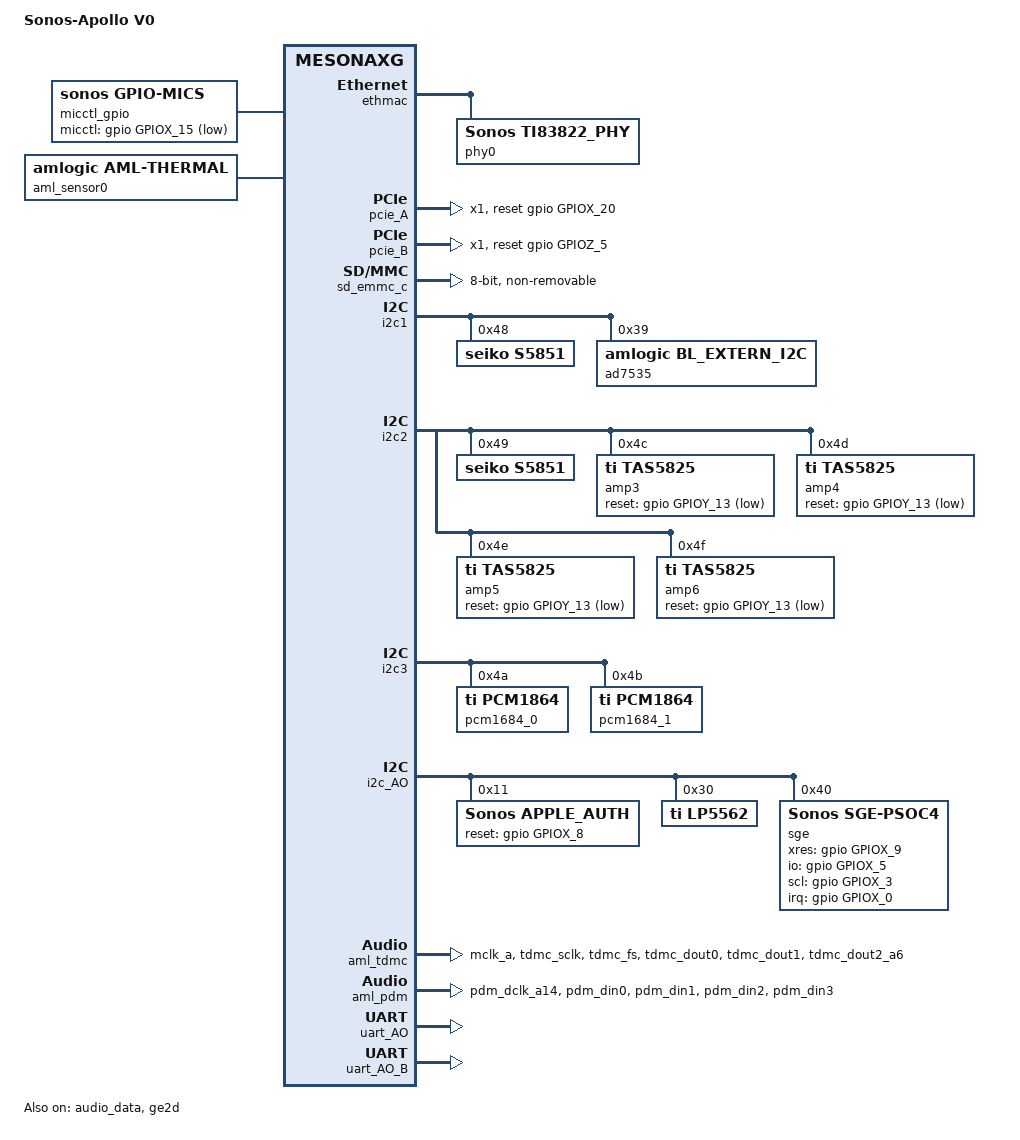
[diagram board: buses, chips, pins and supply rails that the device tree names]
/*
 * Copyright (c) 2018-2022 Sonos, Inc.
 *
 * SPDX-License-Identifier:     GPL-2.0
 */
/* Apollo HW versions
 *      V0 - apollo_v0.dts    - Apollo P0 P0.1 build
 */
/dts-v1/;

#include "a113.dtsi"
#include "sonos_platform.dtsi"
#include "mesonaxg_ad7535-panel.dtsi"

/ {
	model = "Sonos-Apollo V0";
	amlogic-dt-id = "axg_a113d_skt_v1";
	compatible = "amlogic, axg";
	interrupt-parent = <&gic>;
	#address-cells = <2>;
	#size-cells = <2>;

	sonos-product-id = <0x0f>;

	sonos-platform {
		/* Sonos platform specific values for shared driver source & binaries */
		sonos-ampctl { /* Apollo has one amp fault.  It has three control lines.  */
			status = "okay";
			hw-inits-index = <1>;
			hw-exits-index = <1>;
			using-i2c-amp;
			ignore-startup-faults;
			allow-auto-recovery;

			sonos-ampfaults {
				num-faults = <0x01>;
				status = "okay";

				ampfault@0 {
					fault-gpio = <&gpio GPIOY_12 GPIO_ACTIVE_LOW>;
					fault-flags = <IRQ_TYPE_EDGE_FALLING>;
					fault-label = "Amp fault";
				} ;
			} ;

		} ;

		misc-gpio {
			connect-button  = <&gpio GPIOX_2 GPIO_ACTIVE_LOW>;
		};

                simulated-buttons {
			/* event-sources are offsets from EVTSOURCE_BUTTON_PLAYPAUSE, some generate an event for more than one source */
                        join {
                                event-sources = <3>;
                        };
                };

                thermal-mgmt {
                        AMP {
				compatible = "seiko,s5851";
                                fault-temperature = <100>;
                                warn-temperature = <95>;
                        };
                        CPU {
				compatible = "seiko,s5851";
                                fault-temperature = <95>;
                                warn-temperature = <91>;
                        };
                 };
	} ;

	micctl_gpio:sonos-gpio-micctl {
		compatible = "sonos,gpio-mics";
		micctl-gpio = <&gpio GPIOX_15 GPIO_ACTIVE_LOW>;
	};

	micctl@1 {
		compatible = "sonos,micctl";
		micctl-device = <&micctl_gpio>;
	};

	sonos-lla {
		compatible = "sonos,alsa-lla";
		status = "okay";
	};

	hrtimer-a113 {
		compatible = "sonos,hrtimer-a113";
		status = "okay";
	};

	aliases {
		serial0 = &uart_AO;
		serial1 = &uart_AO_B;
		serial2 = &uart_B;
		serial3 = &uart_A;
		ethernet0 = &ethmac;
	};

	memory@00000000 {
		device_type = "memory";
		linux,usable-memory = <0x0 0x100000 0x0 0x3ff00000>;
	};

	reserved-memory {
		#address-cells = <2>;
		#size-cells = <2>;
		ranges;
		/* global autoconfigured region for contiguous allocations */
		ramoops@0x07400000 {
			compatible = "ramoops";
			reg = <0x0 0x07400000 0x0 0x00100000>;
			record-size = <0x8000>;
			console-size = <0x10000>;
			ftrace-size = <0x2000>;
			pmsg-size = <0x4000>;
		};
		secmon_reserved:linux,secmon {
			compatible = "shared-dma-pool";
			reusable;
			size = <0x0 0x400000>;
			alignment = <0x0 0x400000>;
			alloc-ranges = <0x0 0x05000000 0x0 0x400000>;
		};

		secos_reserved:linux,secos {
			status = "disable";
			compatible = "amlogic, aml_secos_memory";
			reg = <0x0 0x05300000 0x0 0x2000000>;
			no-map;
		};

		ion_cma_reserved:linux,ion-dev {
			compatible = "shared-dma-pool";
			reusable;
			size = <0x0 0x8000000>;
			alignment = <0x0 0x400000>;
			alloc-ranges = <0x0 0x33c00000 0x0 0x8000000>;
		};

		fb_reserved:linux,meson-fb {
			//compatible = "amlogic, fb-memory";
			//reg = <0x0 0x3e000000 0x0 0x1f00000>;
			compatible = "shared-dma-pool";
			reusable;
			size = <0x0 0x2400000>;
			alignment = <0x0 0x400000>;
			alloc-ranges = <0x0 0x3bc00000 0x0 0x2400000>;
		};
	};

	mtd_nand {
		compatible = "amlogic, aml_mtd_nand";
		dev_name = "mtdnand";
		status = "disable";
		reg = <0x0 0xFFE07800 0x0 0x200>;
		interrupts = <	0 34 1 >;
		pinctrl-names = "nand_rb_mod","nand_norb_mod", "nand_cs_only";
		pinctrl-0 = <&all_nand_pins>;
		pinctrl-1 = <&all_nand_pins>;
		pinctrl-2 = <&nand_cs_pins>;
		device_id = <0>;

		/*fip/tpl configurations, must be same
		 * with uboot if bl_mode was set as 1
		 * bl_mode: 0 compact mode; 1 descrete mode
		 * if bl_mode was set as 1, fip configeration will work
		 */
		bl_mode = <1>;
		/*copy count of fip*/
		fip_copies = <4>;
		/*size of each fip copy */
		fip_size = <0x200000>;
		nand_clk_ctrl = <0xFFE07000>;
		plat-names = "bootloader","nandnormal";
		plat-num = <2>;
		plat-part-0 = <&bootloader>;
		plat-part-1 = <&nandnormal>;
		bootloader: bootloader{
			enable_pad ="ce0";
			busy_pad = "rb0";
			timming_mode = "mode5";
			bch_mode = "bch8_1k";
			t_rea = <20>;
			t_rhoh = <15>;
			chip_num = <1>;
			part_num = <0>;
			rb_detect = <1>;
		};
		nandnormal: nandnormal{
			enable_pad ="ce0";
			busy_pad = "rb0";
			timming_mode = "mode5";
			bch_mode = "bch8_1k";
			plane_mode = "twoplane";
			t_rea = <20>;
			t_rhoh = <15>;
			chip_num = <2>;
			part_num = <3>;
			partition = <&nand_partitions>;
			rb_detect = <1>;
		};
		nand_partitions:nand_partition{
			/*
			 * if bl_mode is 1, tpl size was generate by
			 * fip_copies * fip_size which
			 * will not skip bad when calculating
			 * the partition size;
			 *
			 * if bl_mode is 0,
			 * tpl partition must be comment out.
			 */
			tpl{
				offset=<0x0 0x0>;
				size=<0x0 0x0>;
			};
			logo{
				offset=<0x0 0x0>;
				size=<0x0 0x200000>;
			};
			recovery{
				offset=<0x0 0x0>;
				size=<0x0 0x1000000>;
			};
			boot{
				offset=<0x0 0x0>;
				size=<0x0 0xC00000>;
			};
			system{
				offset=<0x0 0x0>;
				size=<0x0 0xDC40000>;
			};
			data{
				offset=<0xffffffff 0xffffffff>;
				size=<0x0 0x0>;
			};
		};
	};

	ethmac: ethernet@0xff3f0000 {
			compatible = "amlogic, gxbb-eth-dwmac";
			status = "okay";
			reg = <0x0 0xff3f0000 0x0 0x10000
			0x0 0xff634540 0x0 0x8>;
			interrupts = <0 8 1>;
			pinctrl-names = "external_eth_pins";
			pinctrl-0 = <&external_eth_pins>;
			mc_val_internal_phy = <0x1800>;
			mc_val_external_phy = <0x1404>;
			interrupt-names = "macirq";
			clocks = <&clkc CLKID_ETH_CORE>;
			clock-names = "ethclk81";
			internal_phy=<0>;

			phy0 {
				compatible = "Sonos,ti83822_phy";
				interrupts = <&gpio GPIOY_14 GPIO_ACTIVE_HIGH>;
			};

	};

	aml_sensor0: aml-sensor@0 {
		compatible = "amlogic, aml-thermal";
		device_name = "thermal";
		#thermal-sensor-cells = <1>;
		cooling_devices {
			cpufreq_cool_cluster0 {
				min_state = <1000000>;
				dyn_coeff = <140>;
				cluster_id = <0>;
				node_name = "cpufreq_cool0";
				device_type = "cpufreq";
			};
			cpucore_cool_cluster0 {
				min_state = <1>;
				dyn_coeff = <0>;
				cluster_id = <0>;
				node_name = "cpucore_cool0";
				device_type = "cpucore";
			};
		};
		cpufreq_cool0:cpufreq_cool0 {
			#cooling-cells = <2>; /* min followed by max */
		};
		cpucore_cool0:cpucore_cool0 {
			#cooling-cells = <2>; /* min followed by max */
		};
	};
	thermal-zones {
		soc_thermal {
			polling-delay = <1000>;
			polling-delay-passive = <100>;
			sustainable-power = <1050>;

			thermal-sensors = <&aml_sensor0 3>;

			trips {
				switch_on: trip-point@0 {
					temperature = <70000>;
					hysteresis = <1000>;
					type = "passive";
				};
				control: trip-point@1 {
					temperature = <80000>;
					hysteresis = <1000>;
					type = "passive";
				};
				hot: trip-point@2 {
					temperature = <105000>;
					hysteresis = <5000>;
					type = "hot";
				};
				critical: trip-point@3 {
					temperature = <260000>;
					hysteresis = <1000>;
					type = "critical";
				};
			};

			cooling-maps {
				cpufreq_cooling_map {
					trip = <&control>;
					cooling-device = <&cpufreq_cool0 0 4>;
					contribution = <1024>;
				};
				cpucore_cooling_map {
					trip = <&control>;
					cooling-device = <&cpucore_cool0 0 3>;
					contribution = <1024>;
				};
			};
		};
	};

	usb2_phy: usb2phy@ffe09000 {
		compatible = "amlogic, amlogic-new-usb2";
		status = "disabled";
		portnum = <4>;
		reg = <0x0 0xffe09000 0x0 0x80>;
	};
	usb3_phy: usb3phy@ffe09080 {
		compatible = "amlogic, amlogic-new-usb3";
		status = "disabled";
		portnum = <0>;
		reg = <0x0 0xffe09080 0x0 0x20>;
		interrupts = <0 16 4>;
		otg = <1>;
		gpio-vbus-power = "GPIOAO_5";
		gpios = <&gpio_ao GPIOAO_5 GPIO_ACTIVE_HIGH>;
	};

	dwc2_a {
		compatible = "amlogic, dwc2";
		device_name = "dwc2_a";
		reg = <0x0 0xff400000 0x0 0x40000>;
		status = "disabled";
		interrupts = <0 31 4>;
		pl-periph-id = <0>; /** lm name */
		clock-src = "usb0"; /** clock src */
		port-id = <0>;  /** ref to mach/usb.h */
		port-type = <2>;        /** 0: otg, 1: host, 2: slave */
		port-speed = <0>; /** 0: default, high, 1: full */
		port-config = <0>; /** 0: default */
		/*0:default,1:single,2:incr,3:incr4,4:incr8,5:incr16,6:disable*/
		port-dma = <0>;
		port-id-mode = <0>; /** 0: hardware, 1: sw_host, 2: sw_slave*/
		usb-fifo = <728>;
		cpu-type = "gxl";
		/** 0: normal, 1: otg+dwc3 host only, 2: otg+dwc3 device only*/
		controller-type = <3>;
		phy-reg = <0xffe09000>;
		phy-reg-size = <0xa0>;
		clocks = <&clkc CLKID_USB_GENERAL
			&clkc CLKID_USB1_TO_DDR
			&clkc CLKID_USB1>;
		clock-names = "usb_general",
			"usb1",
			"usb1_to_ddr";
	};

	pcie_A: pcieA@f9800000 {
		compatible = "amlogic, amlogic-pcie", "snps,dw-pcie";
		reg = <0x0 0xf9800000 0x0 0x400000
				0x0 0xff646000 0x0 0x2000
				0x0 0xf9f00000 0x0 0x100000
				0x0 PCIE_PHY_REG 0x0 PCIE_PHY_SIZE
				0x0 PCIE_RESET_REG 0x0 PCIE_RESET_SIZE>;
		reg-names = "elbi", "cfg", "config", "phy", "reset";
		reset-gpio = <&gpio GPIOX_20 GPIO_ACTIVE_HIGH>;
		interrupts = <0 177 0>, <0 179 0>;
		#interrupt-cells = <1>;
		bus-range = <0x0 0xff>;
		#address-cells = <3>;
		#size-cells = <2>;
		device_type = "pci";
		ranges = <0x82000000 0 0 0x0 0xf9c00000 0 0x00300000>;
			/* non-prefetchable memory */
		num-lanes = <1>;
		pcie-num = <1>;
		speed-mod = <1>; /* gen1 */

		clocks = <&clkc CLKID_USB_GENERAL
				&clkc CLKID_PCIE_PLL
				&clkc CLKID_MIPI_ENABLE_GATE
				&clkc CLKID_MIPI_BANDGAP_GATE
				&clkc CLKID_PCIE_A
				&clkc CLKID_PCIE_CML_EN0>;
		clock-names = "pcie_general",
				"pcie_refpll",
				"pcie_mipi_enable_gate",
				"pcie_mipi_bandgap_gate",
				"pcie",
				"port";
		/*reset-gpio-type 0:Shared pad(no reset)1:OD pad2:Normal pad*/
		gpio-type = <2>;
		status = "okay";
	};

	pcie_B: pcieB@fa000000 {
		compatible = "amlogic, amlogic-pcie", "snps,dw-pcie";
		reg = <0x0 0xfa000000 0x0 0x400000
				0x0 0xff648000 0x0 0x2000
				0x0 0xfa400000 0x0 0x100000
				0x0 PCIE_PHY_REG 0x0 PCIE_PHY_SIZE
				0x0 PCIE_RESET_REG 0x0 PCIE_RESET_SIZE>;
		reg-names = "elbi", "cfg", "config", "phy", "reset";
		reset-gpio = <&gpio GPIOZ_5 GPIO_ACTIVE_HIGH>;
		interrupts = <0 167 0>, <0 169 0>;
		#interrupt-cells = <1>;
		bus-range = <0x0 0xff>;
		#address-cells = <3>;
		#size-cells = <2>;
		device_type = "pci";
		ranges = <0x81000000 0 0 0 0xfa500000 0x0 0x10000
			/* downstream I/O */
			0x82000000 0 0xfa510000 0x0 0xfa510000 0 0x002f0000>;
			/* non-prefetchable memory */
		num-lanes = <1>;
		pcie-num = <2>;
		speed-mod = <1>; /* gen1 */

		clocks = <&clkc CLKID_USB_GENERAL
			&clkc CLKID_PCIE_PLL
			&clkc CLKID_MIPI_ENABLE_GATE
			&clkc CLKID_MIPI_BANDGAP_GATE
			&clkc CLKID_PCIE_B
			&clkc CLKID_PCIE_CML_EN1>;
		clock-names = "pcie_general",
			"pcie_refpll",
			"pcie_mipi_enable_gate",
			"pcie_mipi_bandgap_gate",
			"pcie",
			"port";
		/*reset-gpio-type 0:Shared pad(no reset)1:OD pad2:Normal pad*/
		gpio-type = <2>;
		status = "okay";
	};

	uart_A: serial@ffd24000 {
		compatible = "amlogic, meson-uart";
		reg = <0x0 0xffd24000 0x0 0x18>;
		interrupts = <0 26 1>;
		status = "disable";
		clocks = <&xtal
			&clkc CLKID_UART0>;
		clock-names = "clk_uart",
			"clk_gate";
		fifosize = < 128 >;
		pinctrl-names = "default";
		pinctrl-0 = <&a_uart_pins>;
	};

	uart_B: serial@ffd23000 {
		compatible = "amlogic, meson-uart";
		reg = <0x0 0xffd23000 0x0 0x18>;
		interrupts = <0 75 1>;
		status = "disable";
		clocks = <&xtal
			&clkc CLKID_UART1>;
		clock-names = "clk_uart",
			"clk_gate";
		fifosize = < 64 >;
		pinctrl-names = "default";
		pinctrl-0 = <&b_uart_pins>;
	};

	vpu {
		compatible = "amlogic, vpu-axg";
		dev_name = "vpu";
		status = "okay";
		clocks = <&clkc CLKID_VAPB_MUX>,
			<&clkc CLKID_VPU_INTR>,
			<&clkc CLKID_VPU_P0_COMP>,
			<&clkc CLKID_VPU_P1_COMP>,
			<&clkc CLKID_VPU_MUX>;
		clock-names = "vapb_clk",
			"vpu_intr_gate",
			"vpu_clk0",
			"vpu_clk1",
			"vpu_clk";
		clk_level = <3>;
		/* 0: 100.0M    1: 166.7M    2: 200.0M    3: 250.0M */
	};

	vout {
		compatible = "amlogic, vout";
		dev_name = "vout";
		status = "okay";
	};

	/* Audio Related start */
	/* Sound iomap */

	aml_snd_iomap {
		compatible = "amlogic, snd-iomap";
		status = "okay";
		#address-cells=<2>;
		#size-cells=<2>;
		ranges;
		pdm_bus {
			reg = <0x0 0xFF632000 0x0 0x2000>;
		};
		audiobus_base {
			reg = <0x0 0xFF642000 0x0 0x2000>;
		};
		audiolocker_base {
			reg = <0x0 0xFF64A000 0x0 0x2000>;
		};
	};
	pdm_codec:dummy{
		#sound-dai-cells = <0>;
		compatible = "amlogic, pdm_dummy_codec";
		status = "okay";
	};
	dummy_codec:dummy{
		#sound-dai-cells = <0>;
		compatible = "amlogic, aml_dummy_codec";
		status = "okay";
	};
	sonos_dummy_codec_dac: dac_dummy_codec {
		#sound-dai-cells = <0>;
		compatible = "Sonos,dummy-codec";
		stream-name = "Sonos DAC playback stream";
		rate = <44100>; /* We use 44.1 KHz as the audio output rate */
		format = "S32_LE"; /* We use signed 24-bit little endian samples in a 32-bit word */
		channels = <12>; /* Number of playback channels on Apollo is 12 */
		status = "okay";
	};
	sonos_dummy_codec_pdm: pdm_dummy_codec {
		#sound-dai-cells = <0>;
		compatible = "Sonos,dummy-codec";
		stream-name = "Sonos PDM mic capture stream";
		rate = <16000>; /* We use 16 KHz as the audio input rate. May be changed after consulting SMAV team */
		format = "S32_LE"; /* We use signed 24-bit little endian samples in 32-bit words */
		channels = <8>; /* Number of capture channels on Apollo is 8 */
		capture; /* Set the stream direction to capture. Note: Deafult without this boolean flag is playback */
		status = "okay";
	};

	auge_sound {
		compatible = "amlogic, axg-sound-card";
		aml-audio-card,name = "AML-AUGESOUND";

		aml-audio-card,dai-link@2 {
			format = "dsp_b";
			mclk-fs = <256>;
			continuous-clock;
			bitclock-inversion;
			//frame-inversion;
			bitclock-master = <&aml_tdmc>;
			frame-master = <&aml_tdmc>;
			cpu {
				sound-dai = <&aml_tdmc>;
				dai-tdm-slot-tx-mask = <1 1 1 1>;
				dai-tdm-slot-rx-mask = <0 0 0 0>;
				dai-tdm-slot-num = <4>;
				dai-tdm-slot-width = <32>;
			};
			codec {
				prefix-names = "Sonos TDM out";
				sound-dai = <&sonos_dummy_codec_dac>;
			};
		};

		aml-audio-card,dai-link@3 {
			mclk-fs = <256>;
			cpu {
				sound-dai = <&aml_pdm>;
			};
			codec {
				prefix-names = "Sonos PDM in";
				sound-dai = <&sonos_dummy_codec_pdm>;
			};
		};
	};
	sd_emmc_c: emmc@ffe07000 {
		status = "okay";
		compatible = "amlogic, meson-mmc-axg";
		reg = <0x0 0xffe07000 0x0 0x2000>;
		interrupts = <0 218 1>;
		pinctrl-names = "emmc_clk_cmd_pins", "emmc_all_pins";
		pinctrl-0 = <&emmc_clk_cmd_pins>;
		pinctrl-1 = <&emmc_conf_pull_up &emmc_conf_pull_done>;
		clocks = <&clkc CLKID_SD_EMMC_C>,
			   <&clkc CLKID_SD_EMMC_C_P0_COMP>,
			   <&clkc CLKID_FCLK_DIV2>,
			   <&clkc CLKID_FCLK_DIV5>,
			   <&xtal>;
		clock-names = "core", "clkin0", "clkin1", "clkin2", "xtal";

		bus-width = <8>;
		cap-sd-highspeed;
		cap-mmc-highspeed;
		mmc-ddr-1_8v;
		mmc-hs200-1_8v;

		max-frequency = <200000000>;
		non-removable;
		disable-wp;
		emmc {
			status = "disable";
			pinname = "emmc";
			ocr_avail = <0x200080>; /**VDD voltage 3.3 ~ 3.4 */
			caps = "MMC_CAP_8_BIT_DATA",
				 "MMC_CAP_MMC_HIGHSPEED",
				 "MMC_CAP_SD_HIGHSPEED",
				 "MMC_CAP_NONREMOVABLE",
				 "MMC_CAP_1_8V_DDR",
				 "MMC_CAP_HW_RESET",
				 "MMC_CAP_ERASE",
				 "MMC_CAP_CMD23";
			f_min = <400000>;
			f_max = <200000000>;
			max_req_size = <0x20000>; /**128KB*/
			gpio_dat3 = <&gpio BOOT_3 GPIO_ACTIVE_HIGH>;
			tx_delay = <8>;
			hw_reset = <&gpio BOOT_9 GPIO_ACTIVE_HIGH>;
			card_type = <1>;
			/* 1:mmc card(include eMMC),
			 * 2:sd card(include tSD)
			 */
		};
	};

	ion_dev {
		compatible = "amlogic, ion_dev";
		memory-region = <&ion_cma_reserved>;
	};/*V end of ion_dev*/

	ionvideo {
		compatible = "amlogic, ionvideo";
		dev_name = "ionvideo";
		status = "okay";
	};

	meson-fb {
		compatible = "amlogic, meson-axg";
		memory-region = <&fb_reserved>;
		dev_name = "meson-fb";
		status = "okay";
		interrupts = <0 3 1
			0 89 1>;
		interrupt-names = "viu-vsync", "rdma";
		mem_size = <0x0 0x1800000 0x00100000>;
		/* uboot logo,fb0/fb1 memory size */
		display_mode_default = "1080p60hz";
		scale_mode = <0>;
		/** 0:VPU free scale 1:OSD free scale 2:OSD super scale */
		display_size_default = <1920 1080 1920 3240 32>;
		/*768*1024*4*2 = 0x600000*/
		mem_alloc = <1>;
		logo_addr = "0x3bc00000";
		pxp_mode = <0>; /** 0:normal mode 1:pxp mode */
	};

	ge2d {
		compatible = "amlogic, ge2d-axg";
		dev_name = "ge2d";
		status = "okay";
		interrupts = <0 150 1>;
		interrupt-names = "ge2d";
		clocks = <&clkc CLKID_VAPB_MUX>,
			<&clkc CLKID_G2D>,
			<&clkc CLKID_GE2D_GATE>;
		clock-names = "clk_vapb_0",
			"clk_ge2d",
			"clk_ge2d_gate";
		reg = <0x0 0xff940000 0x0 0x10000>;
	};
}; /* end of / */

&i2c1 {
	status = "okay";
	pinctrl-names="default";
	pinctrl-0=<&b_i2c_master_pin1>;

	s5851@0 {       // CPU thermal sensor
		compatible = "seiko,s5851";
		reg = <0x48>;
		device_type = "CPU";
	};

	ad7535@0x39 {
		compatible = "amlogic, bl_extern_i2c";
		reg = <0x39>;
		dev_name="bl_extern_i2c_ad7535";
	};
};

&i2c2 {
	status = "okay";
	pinctrl-names="default";
	pinctrl-0=<&c_i2c_master>;

	s5851@1 {       // Amp thermal sensor
		compatible = "seiko,s5851";
		reg = <0x49>;
		device_type = "AMP";
	};

	amp3: tas5825@4c {
		compatible = "ti,tas5825";
		reg = <0x4c>;
		dev-id = <0x3>;
		first-amp-devid = <3>;
		shared-reset;
		mask-clock-faults;
		reset-gpio = <&gpio GPIOY_13 GPIO_ACTIVE_LOW>;
		number-init-stages = <2>;
		init-sequence-length1 = <2>;
		reg-init1 = <0x6a 0x03 0x03 0x02>;
		init-sequence-length2 = <146>;
		reg-init2 = <0x00 0x00 0x7f 0x00 0x03 0x02 0x00 0x00 0x00 0x00 0x00 0x00 0x00 0x00
			0x00 0x00 0x7f 0x00 0x7d 0x11 0x7e 0xff 0x00 0x01 0x51 0x05 0x00 0x02 0x19 0xa0 0x1d 0x01
			0x00 0x00 0x7f 0x00 0x46 0x01 0x00 0x00 0x60 0x01 0x61 0x0b 0x7f 0x00 0x03 0x0f 0x00 0x00 0x00 0x00 0x00 0x00
			0x00 0x00 0x7f 0x8c 0x00 0x06 0x38 0x00 0x39 0x00 0x3a 0x04 0x3b 0x00 0x00 0x0b 0x50 0x00 0x51 0x20 0x52 0xc4
		       	0x53 0x9c 0x5c 0x7f 0x5d 0xff 0x5e 0xff 0x5f 0xff
			0x00 0x00 0x7f 0x8c 0x00 0x01 0x28 0x40 0x29 0x00 0x2a 0x00 0x2b 0x00 0x00 0x0a 0x64 0x00 0x65 0x80 0x66 0x00
		       	0x67 0x00 0x68 0x00 0x69 0x00 0x6a 0x00 0x6b 0x00 0x6c 0x00 0x6d 0x00 0x6e 0x00 0x6f 0x00 0x70 0x00 0x71 0x80
		       	0x72 0x00 0x73 0x00 0x74 0x00 0x75 0x80 0x76 0x00 0x77 0x00 0x78 0x00 0x79 0x00 0x7a 0x00 0x7b 0x00 0x7c 0x00
		       	0x7d 0x00 0x7e 0x00 0x7f 0x00 0x00 0x0b 0x08 0x00 0x09 0x80 0x0a 0x00 0x0b 0x00 0x38 0x22 0x39 0x94 0x3a 0xDC
		       	0x3b 0xBB 0x3c 0x22 0x3d 0x94 0x3e 0xDC 0x3f 0xBB 0x48 0x05 0x49 0x91 0x4a 0x06 0x4b 0x12 0x4c 0x00 0x4d 0x03
		       	0x4e 0xB7 0x4f 0x17 0x54 0x7a 0x55 0x6E 0x56 0xF9 0x57 0xEE 0x58 0x00 0x59 0x00 0x5a 0x5F 0x5b 0x1C 0x60 0x08
		       	0x61 0x13 0x62 0x85 0x63 0x62 0x64 0x00 0x65 0x80 0x66 0x00 0x67 0x00 0x6c 0x00 0x6d 0x78 0x6e 0xd6 0x6f 0xfd
		       	0x70 0x00 0x71 0x08 0x72 0x13 0x73 0x85 0x00 0x00 0x7f 0x00 0x30 0x00 0x4c 0x30 0x02 0x02 0x03 0x0a 0x28 0x78
		       	0x33 0x17 0x34 0x00 0x50 0x00 0x53 0x00 0x54 0x04 0x3A 0xF8 0x6B 0x00 0x6C 0x00 0x75 0x38 0x77 0x00 0x29 0x00
			0x00 0x00 0x7f 0x00 0x78 0x80 0x03 0xa >;
		status = "okay";
	};
	amp4: tas5825@4d {
		compatible = "ti,tas5825";
		reg = <0x4d>;
		dev-id = <0x4>;
		shared-reset;
		mask-clock-faults;
		reset-gpio = <&gpio GPIOY_13 GPIO_ACTIVE_LOW>;
		number-init-stages = <2>;
		init-sequence-length1 = <2>;
		reg-init1 = <0x6a 0x07 0x03 0x02>;
		init-sequence-length2 = <146>;
		reg-init2 = <0x00 0x00 0x7f 0x00 0x03 0x02 0x00 0x00 0x00 0x00 0x00 0x00 0x00 0x00
			0x00 0x00 0x7f 0x00 0x7d 0x11 0x7e 0xff 0x00 0x01 0x51 0x05 0x00 0x02 0x19 0xa0 0x1d 0x01
			0x00 0x00 0x7f 0x00 0x46 0x01 0x00 0x00 0x60 0x01 0x61 0x0b 0x7f 0x00 0x03 0x0f 0x00 0x00 0x00 0x00 0x00 0x00
			0x00 0x00 0x7f 0x8c 0x00 0x06 0x38 0x00 0x39 0x00 0x3a 0x04 0x3b 0x00 0x00 0x0b 0x50 0x00 0x51 0x20 0x52 0xc4
		       	0x53 0x9c 0x5c 0x7f 0x5d 0xff 0x5e 0xff 0x5f 0xff
			0x00 0x00 0x7f 0x8c 0x00 0x01 0x28 0x40 0x29 0x00 0x2a 0x00 0x2b 0x00 0x00 0x0a 0x64 0x00 0x65 0x80 0x66 0x00
		       	0x67 0x00 0x68 0x00 0x69 0x00 0x6a 0x00 0x6b 0x00 0x6c 0x00 0x6d 0x00 0x6e 0x00 0x6f 0x00 0x70 0x00 0x71 0x80
		       	0x72 0x00 0x73 0x00 0x74 0x00 0x75 0x80 0x76 0x00 0x77 0x00 0x78 0x00 0x79 0x00 0x7a 0x00 0x7b 0x00 0x7c 0x00
		       	0x7d 0x00 0x7e 0x00 0x7f 0x00 0x00 0x0b 0x08 0x00 0x09 0x80 0x0a 0x00 0x0b 0x00 0x38 0x22 0x39 0x94 0x3a 0xDC
		       	0x3b 0xBB 0x3c 0x22 0x3d 0x94 0x3e 0xDC 0x3f 0xBB 0x48 0x05 0x49 0x91 0x4a 0x06 0x4b 0x12 0x4c 0x00 0x4d 0x03
		       	0x4e 0xB7 0x4f 0x17 0x54 0x7a 0x55 0x6E 0x56 0xF9 0x57 0xEE 0x58 0x00 0x59 0x00 0x5a 0x5F 0x5b 0x1C 0x60 0x08
		       	0x61 0x13 0x62 0x85 0x63 0x62 0x64 0x00 0x65 0x80 0x66 0x00 0x67 0x00 0x6c 0x00 0x6d 0x78 0x6e 0xd6 0x6f 0xfd
		       	0x70 0x00 0x71 0x08 0x72 0x13 0x73 0x85 0x00 0x00 0x7f 0x00 0x30 0x00 0x4c 0x30 0x02 0x02 0x03 0x0a 0x28 0x78
		       	0x33 0x17 0x34 0x40 0x50 0x00 0x53 0x00 0x54 0x04 0x3A 0xF8 0x6B 0x00 0x6C 0x00 0x75 0x38 0x77 0x00 0x29 0x00
			0x00 0x00 0x7f 0x00 0x78 0x80 0x03 0xa >;
		status = "okay";
	};
	amp5: tas5825@4e { // tweeter + woofer
		compatible = "ti,tas5825";
		reg = <0x4e>;
		dev-id = <0x5>;
		shared-reset;
		mask-clock-faults;
		reset-gpio = <&gpio GPIOY_13 GPIO_ACTIVE_LOW>;
		number-init-stages = <2>;
		init-sequence-length1 = <2>;
		reg-init1 = <0x6a 0x0b 0x03 0x02>;
		init-sequence-length2 = <146>;
		reg-init2 = <0x00 0x00 0x7f 0x00 0x03 0x02 0x00 0x00 0x00 0x00 0x00 0x00 0x00 0x00
			0x00 0x00 0x7f 0x00 0x7d 0x11 0x7e 0xff 0x00 0x01 0x51 0x05 0x00 0x02 0x19 0xa0 0x1d 0x01
			0x00 0x00 0x7f 0x00 0x46 0x01 0x00 0x00 0x60 0x01 0x61 0x0b 0x7f 0x00 0x03 0x0f 0x00 0x00 0x00 0x00 0x00 0x00
			0x00 0x00 0x7f 0x8c 0x00 0x06 0x38 0x00 0x39 0x00 0x3a 0x04 0x3b 0x00 0x00 0x0b 0x50 0x00 0x51 0x20 0x52 0xc4
		       	0x53 0x9c 0x5c 0x7f 0x5d 0xff 0x5e 0xff 0x5f 0xff
			0x00 0x00 0x7f 0x8c 0x00 0x01 0x28 0x40 0x29 0x00 0x2a 0x00 0x2b 0x00 0x00 0x0a 0x64 0x00 0x65 0x80 0x66 0x00
		       	0x67 0x00 0x68 0x00 0x69 0x00 0x6a 0x00 0x6b 0x00 0x6c 0x00 0x6d 0x00 0x6e 0x00 0x6f 0x00 0x70 0x00 0x71 0x80
		       	0x72 0x00 0x73 0x00 0x74 0x00 0x75 0x80 0x76 0x00 0x77 0x00 0x78 0x00 0x79 0x00 0x7a 0x00 0x7b 0x00 0x7c 0x00
		       	0x7d 0x00 0x7e 0x00 0x7f 0x00 0x00 0x0b 0x08 0x00 0x09 0x80 0x0a 0x00 0x0b 0x00 0x38 0x22 0x39 0x94 0x3a 0xDC
		       	0x3b 0xBB 0x3c 0x22 0x3d 0x94 0x3e 0xDC 0x3f 0xBB 0x48 0x05 0x49 0x91 0x4a 0x06 0x4b 0x12 0x4c 0x00 0x4d 0x03
		       	0x4e 0xB7 0x4f 0x17 0x54 0x7a 0x55 0x6E 0x56 0xF9 0x57 0xEE 0x58 0x00 0x59 0x00 0x5a 0x5F 0x5b 0x1C 0x60 0x08
		       	0x61 0x13 0x62 0x85 0x63 0x62 0x64 0x00 0x65 0x80 0x66 0x00 0x67 0x00 0x6c 0x00 0x6d 0x78 0x6e 0xd6 0x6f 0xfd
		       	0x70 0x00 0x71 0x08 0x72 0x13 0x73 0x85 0x00 0x00 0x7f 0x00 0x30 0x00 0x4c 0x30 0x02 0x02 0x03 0x0a 0x28 0x78
		       	0x33 0x17 0x34 0x00 0x50 0x00 0x53 0x00 0x54 0x04 0x3A 0xF8 0x6B 0x00 0x6C 0x00 0x75 0x38 0x77 0x00 0x29 0x00
			0x00 0x00 0x7f 0x00 0x78 0x80 0x03 0xa >;
		status = "okay";
	};
	amp6: tas5825@4f { // woofer
		compatible = "ti,tas5825";
		reg = <0x4f>;
		dev-id = <0x6>;
		shared-reset;
		mask-clock-faults;
		reset-gpio = <&gpio GPIOY_13 GPIO_ACTIVE_LOW>;
		number-init-stages = <2>;
		init-sequence-length1 = <2>;
		reg-init1 = <0x6a 0x0f 0x03 0x02>;
		init-sequence-length2 = <146>;
		reg-init2 = <0x00 0x00 0x7f 0x00 0x03 0x02 0x00 0x00 0x00 0x00 0x00 0x00 0x00 0x00
			0x00 0x00 0x7f 0x00 0x7d 0x11 0x7e 0xff 0x00 0x01 0x51 0x05 0x00 0x02 0x19 0xa0 0x1d 0x01
			0x00 0x00 0x7f 0x00 0x46 0x01 0x00 0x00 0x60 0x01 0x61 0x0b 0x7f 0x00 0x03 0x0f 0x00 0x00 0x00 0x00 0x00 0x00
			0x00 0x00 0x7f 0x8c 0x00 0x06 0x38 0x00 0x39 0x00 0x3a 0x04 0x3b 0x00 0x00 0x0b 0x50 0x00 0x51 0x20 0x52 0xc4
		       	0x53 0x9c 0x5c 0x7f 0x5d 0xff 0x5e 0xff 0x5f 0xff
			0x00 0x00 0x7f 0x8c 0x00 0x01 0x28 0x40 0x29 0x00 0x2a 0x00 0x2b 0x00 0x00 0x0a 0x64 0x00 0x65 0x80 0x66 0x00
		       	0x67 0x00 0x68 0x00 0x69 0x00 0x6a 0x00 0x6b 0x00 0x6c 0x00 0x6d 0x00 0x6e 0x00 0x6f 0x00 0x70 0x00 0x71 0x80
		       	0x72 0x00 0x73 0x00 0x74 0x00 0x75 0x80 0x76 0x00 0x77 0x00 0x78 0x00 0x79 0x00 0x7a 0x00 0x7b 0x00 0x7c 0x00
		       	0x7d 0x00 0x7e 0x00 0x7f 0x00 0x00 0x0b 0x08 0x00 0x09 0x80 0x0a 0x00 0x0b 0x00 0x38 0x22 0x39 0x94 0x3a 0xDC
		       	0x3b 0xBB 0x3c 0x22 0x3d 0x94 0x3e 0xDC 0x3f 0xBB 0x48 0x05 0x49 0x91 0x4a 0x06 0x4b 0x12 0x4c 0x00 0x4d 0x03
		       	0x4e 0xB7 0x4f 0x17 0x54 0x7a 0x55 0x6E 0x56 0xF9 0x57 0xEE 0x58 0x00 0x59 0x00 0x5a 0x5F 0x5b 0x1C 0x60 0x08
		       	0x61 0x13 0x62 0x85 0x63 0x62 0x64 0x00 0x65 0x80 0x66 0x00 0x67 0x00 0x6c 0x00 0x6d 0x78 0x6e 0xd6 0x6f 0xfd
		       	0x70 0x00 0x71 0x08 0x72 0x13 0x73 0x85 0x00 0x00 0x7f 0x00 0x30 0x00 0x4c 0x30 0x02 0x02 0x03 0x0a 0x28 0x78
		       	0x33 0x17 0x34 0x40 0x50 0x00 0x53 0x00 0x54 0x04 0x3A 0xF8 0x6B 0x00 0x6C 0x00 0x75 0x38 0x77 0x00 0x29 0x00
			0x00 0x00 0x7f 0x00 0x78 0x80 0x03 0xa >;
		status = "okay";
	};

};

&i2c3 {
	status = "okay";
	pinctrl-names="default";
	pinctrl-0=<&d_i2c_master_pin2>;

	pcm1684_0: pcm1684_0@0x4a {
		 compatible = "ti,pcm1864";
		 #sound-dai-cells = <0>;
		 reg = <0x4a>;
		 status = "okay";
	};
	pcm1684_1: pcm1684_1@0x4b {
		 compatible = "ti,pcm1864";
		 #sound-dai-cells = <0>;
		 reg = <0x4b>;
		 status = "okay";
	};
};

/* for mic board */
&i2c_AO {
	status = "okay";
	pinctrl-names="default";
	pinctrl-0=<&ao_i2c_master_pin2>;

	apple_auth@0 {
		compatible = "Sonos,apple_auth";
		reg = <0x11>;
		reset-gpio = <&gpio GPIOX_8 GPIO_ACTIVE_HIGH>;
	};

	lp5562@0 {      // LED controller
		compatible = "ti,lp5562";
		reg = <0x30>;
	};

	sge@0 {  // Sigdetail Gesture Engine
		compatible = "Sonos,sge-psoc4";
		pinctrl-names = "mode-uart-hiz", "mode-flow-ctrl";
		pinctrl-0 = <>;
		pinctrl-1 = <&ao_b_uart_pins>;
		reg = <0x40>;
		gpio-addr = <0xff634400 0x130 0x4c 0x0 0x50 0x4c 0x0 0x50>;
		gpio-params = "base-addr", "len", "io-set", "io-clr", "io-din", "scl-set", "scl-clr", "scl-din";
		scl-bitmask =  <0x000008>;
		io-bitmask  =  <0x000020>;
		xres-gpio = <&gpio GPIOX_9 GPIO_ACTIVE_HIGH>;
		// Note: The values for IO and SCL are overridden by sdd-a113.c
		io-gpio   = <&gpio GPIOX_5 GPIO_ACTIVE_HIGH>;
		scl-gpio  = <&gpio GPIOX_3 GPIO_ACTIVE_HIGH>;
		irq-gpio  = <&gpio GPIOX_0 GPIO_ACTIVE_HIGH>;
		zonea = "vol1";
		zoneb = "pp";
		zonec = "vol2";
		zonem = "mic";
		finger-threshold = <33>;
		noise-threshold = <12>;
		hysteresis = <4>;
		share-swd-uart = <0>;
		psoc-rtc = <0>;
		status = "okay";

		psoc-images {
			image@0 {
				model-num = <4247>;
				ident = <0xa1>;
				flash-rows = <1024>;
				flash-row-size = <128>;
				flash-protection-size = <128>;
			};
			image@1 {
				model-num = <4247>;
				ident = <0xa2>;
				flash-rows = <1024>;
				flash-row-size = <128>;
				flash-protection-size = <128>;
			};
		};
	};
};

&audiobus {

	aml_tdmc: tdmc {
		compatible = "amlogic, axg-snd-tdmc";
		#sound-dai-cells = <0>;
		dai-tdm-lane-slot-mask-in = <0 0 0 0>;
		dai-tdm-lane-slot-mask-out = <1 1 1 0>;
		dai-tdm-clk-sel = <2>;
		clocks = <&clkaudio CLKID_AUDIO_MCLK_C
				&clkc CLKID_MPLL2>;
		clock-names = "mclk", "clk_srcpll";
		pinctrl-names = "tdm_pins";
		pinctrl-0 = <&tdmc_mclk &tdmout_c>;
	};
/*
	aml_spdif: spdif {
		compatible = "amlogic, axg-snd-spdif";
		#sound-dai-cells = <0>;
		spdif_from_ddr = <0>;
		spdif_to_ddr = <0>;
		clocks = <&clkc CLKID_MPLL0
				&clkc CLKID_FCLK_DIV4
				&clkaudio CLKID_AUDIO_SPDIFIN
				&clkaudio CLKID_AUDIO_SPDIFOUT
				&clkaudio CLKID_AUDIO_SPDIFIN_CTRL
				&clkaudio CLKID_AUDIO_SPDIFOUT_CTRL>;
		clock-names = "sysclk", "fixed_clk", "gate_spdifin",
				"gate_spdifout", "clk_spdifin", "clk_spdifout";
		interrupts =
				<GIC_SPI 87 IRQ_TYPE_EDGE_RISING
				GIC_SPI 84 IRQ_TYPE_EDGE_RISING
				GIC_SPI 88 IRQ_TYPE_EDGE_RISING>;

		interrupt-names = "irq_spdifin", "irq_toddr", "irq_frddr";
		pinctrl-names = "spdif_pins";
		pinctrl-0 = <&spdifout &spdifin>;
		status = "disabled";
	};
*/

	aml_pdm: pdm {
		compatible = "amlogic, axg-snd-pdm";
		#sound-dai-cells = <0>;
		clocks = <&clkaudio CLKID_AUDIO_PDM
			&clkc CLKID_FCLK_DIV3
			&clkc CLKID_MPLL3
			&clkaudio CLKID_AUDIO_PDMIN0
			&clkaudio CLKID_AUDIO_PDMIN1>;
		clock-names = "gate",
			"sysclk_srcpll",
			"dclk_srcpll",
			"pdm_dclk",
			"pdm_sysclk";
		pinctrl-names = "pdm_pins";
		pinctrl-0 = <&pdmin>;
		filter_mode = <1>; /* mode 0~4, defalut:1 */
		status = "okay";
	};
}; /* end of audiobus */

&pinctrl_periphs {
	tdmout_a: tdmout_a {
		mux {
			groups = "tdma_sclk",
				"tdma_fs";
			function = "tdma_out";
		};
	};

	tdmout_a_data: tdmout_a_data {
		mux {
			groups = "tdma_dout1_x15";
			function = "tdma_out";
		};
	};

	tdmin_a: tdmin_a {
		mux {
			groups = "tdma_din0";
			function = "tdma_in";
		};
	};

	tdmb_mclk: tdmb_mclk {
		mux {
			groups = "mclk_b";
			function = "mclk_b";
		};
	};

	tdmout_b: tdmout_b {
		mux {
			groups = "tdmb_sclk",
				"tdmb_fs";
			function = "tdmb_out";
		};
	};
	// tdmin and tdmout are the same pins. can't use at same time

	tdmin_b:tdmin_b {
		mux {
			groups = "tdmb_din0",
				"tdmb_din1",
				"tdmb_din2_a12",
				"tdmb_din3_a13";
			function = "tdmb_in";
		};
	};

	tdmc_mclk: tdmc_mclk {
		mux {
			groups = "mclk_a";
			function = "mclk_a";
		};
	};

	tdmout_c:tdmout_c {
		mux {
			groups = "tdmc_sclk",
				"tdmc_fs",
				"tdmc_dout0",
				"tdmc_dout1",
				"tdmc_dout2_a6";
			function = "tdmc_out";
		};
	};

	tdmin_c:tdmin_c {
		mux {
			groups = "tdmc_din1";
			function = "tdmc_in";
		};
	};

	pdmin: pdmin {
		mux {
			groups = "pdm_dclk_a14",
				"pdm_din0",
				"pdm_din1",
				"pdm_din2",
				"pdm_din3";
			function = "pdm";
		};
	};

	bl_pwm_on_pins: bl_pwm_on_pin {
		mux {
			groups = "pwm_b_z";
			function = "pwm_b";
		};
	};
}; /* end of pinctrl_periphs */
/* Audio Related End */

&aobus{
	uart_AO: serial@3000 {
		compatible = "amlogic, meson-uart";
		reg = <0x0 0x3000 0x0 0x18>;
		interrupts = <0 193 1>;
		status = "okay";
		clocks = <&xtal>;
		clock-names = "clk_uart";
		xtal_tick_en = <1>;
		fifosize = < 64 >;
		pinctrl-names = "default";
		pinctrl-0 = <&ao_uart_pins>;
		support-sysrq = <1>;	/* 0 not support , 1 support */
	};

	uart_AO_B: serial@4000 {
		compatible = "amlogic, meson-uart";
		reg = <0x0 0x4000 0x0 0x18>;
		interrupts = <0 197 1>;
		status = "okay";
		clocks = <&xtal>;
		clock-names = "clk_uart";
		fifosize = < 64 >;
		pinctrl-names = "default";
		pinctrl-0 = <>;
	};
};

&audio_data{
	status = "okay";
};
